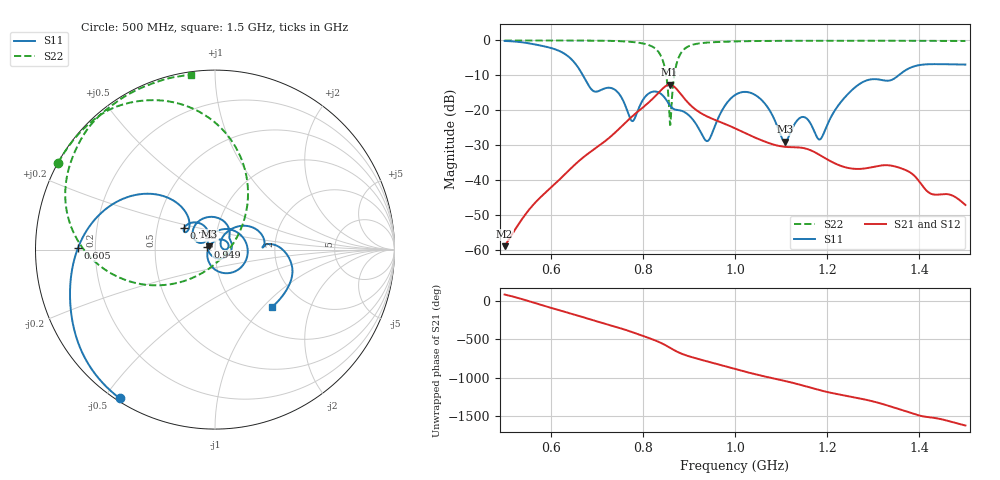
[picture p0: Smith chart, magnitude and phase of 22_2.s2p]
! TOUCHSTONE file generated by CST MICROWAVE STUDIO
! Date and time: Fri Oct  2 16:29:26 2020
! Project name: Scenario_1_Free_Space_out_of_line.cst
! Parameters = {Lambda=346.42; Step_1=17.321; dy1=-16.521; dx1=346; L_HA=400; MT=2.54; Rad_Dielectric=30; Rad_Lower=7.3; Rad_Upper=30; a_HA=580; a_WG=246; b_HA=500; b_WG=121; c_HA=0; c_WG=187; d_feed=85; h_feed=15; h_lower=18; h_upper=40}
! Header version: 2018
! Port assignment regex: !\s*Touchstone port\s*([0-9]+)\s*=\s*(CST MWS port|CST DS port)\s*([0-9]+|Zmin|Zmax)\s*\(\"(.*)\"\)(\s*mode\s*([0-9]+))?.*
! Touchstone port assignment:
! Touchstone port 1 = CST MWS port 1 ("")
! Touchstone port 2 = CST MWS port 2 ("")
# GHz S DB R 50
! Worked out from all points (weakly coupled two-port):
!   1003 points, 500 MHz to 1.5 GHz, reference 50 ohm
!   highest |S21| = -12.68 dB at 858 MHz (marker M1); lowest = -58.9 dB at 500 MHz (marker M2)
!   lowest |S11| = -29.0 dB at 1.108 GHz (marker M3), VSWR 1.07, Z = 47 + j1.63 ohm
!   |S11| at or under -10 dB: 670 MHz to 1.355 GHz (685 MHz wide, 67.7 % of centre)
!   |S22| runs from -24.2 to 0.0 dB; largest |S21 - S12| = 4.1e-06
!   S11 on the Smith chart (normalised r, x): 500 MHz: 0.01, -0.55; 605 MHz: 0.13, +0.01; 722 MHz: 0.69, +0.17; 949 MHz: 0.92, +0.03; 1.5 GHz: 1.41, -1.13
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0.5  -0.14 -122.7  -58.93 81.1  -58.93 81.1  -0.01 151.1
0.605  -2.34 179.4  -41.60 -98.8  -41.60 -98.8  -0.02 143.6
0.667  -9.31 129.5  -33.89 152.3  -33.89 152.3  -0.04 138.2
0.693  -14.51 140.1  -31.29 104.7  -31.29 104.7  -0.06 135.5
0.722  -13.59 145.5  -28.44 54.4  -28.44 54.4  -0.11 131.8
0.777  -23.11 134.7  -21.73 -48.3  -21.73 -48.3  -0.44 120.9
0.834  -14.87 89.5  -14.99 -174.3  -14.99 -174.3  -3.30 87.7
0.847  -16.33 63.4  -13.33 148.2  -13.33 148.2  -7.45 65.0
0.858  -18.44 47.1  -12.68 110.9  -12.68 110.9  -21.88 2.7
0.87  -19.80 37.3  -13.47 70.0  -13.47 70.0  -8.56 -147.8
0.89  -20.50 6.6  -16.62 17.3  -16.62 17.3  -2.47 177.8
0.936  -28.61 -127.8  -21.55 -63.7  -21.55 -63.7  -0.65 151.9
0.949  -27.04 161.0  -22.35 -84.9  -22.35 -84.9  -0.53 148.6
1  -15.64 29.1  -25.17 -169.2  -25.17 -169.2  -0.28 140.1
1.055  -16.72 -64.6  -28.46 107.7  -28.46 107.7  -0.15 133.8
1.108  -29.04 150.6  -30.47 36.1  -30.47 36.1  -0.11 128.8
1.142  -22.10 34.1  -30.69 -15.0  -30.69 -15.0  -0.11 126.0
1.167  -24.57 0.3  -31.62 -57.8  -31.62 -57.8  -0.10 124.1
1.185  -28.32 30.1  -32.90 -86.5  -32.90 -86.5  -0.09 122.7
1.259  -13.61 39.6  -36.78 -178.0  -36.78 -178.0  -0.08 117.0
1.334  -11.52 3.4  -35.78 70.5  -35.78 70.5  -0.09 111.3
1.5  -6.91 -44.8  -47.12 176.3  -47.13 176.3  -0.15 97.8
